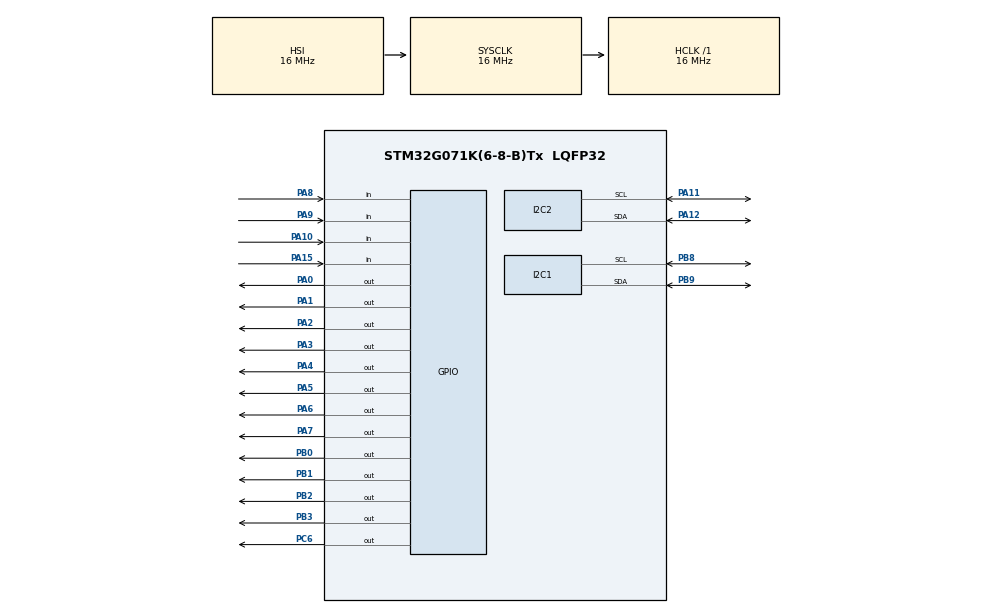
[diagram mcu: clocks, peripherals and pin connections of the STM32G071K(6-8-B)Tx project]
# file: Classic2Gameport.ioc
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Mcu.Family=STM32G0
Mcu.Name=STM32G071K(6-8-B)Tx
Mcu.Package=LQFP32
PA0.Signal=GPIO_Output
PA1.Signal=GPIO_Output
PA10.Signal=GPIO_Input
PA11\ [PA9].Mode=I2C
PA11\ [PA9].Signal=I2C2_SCL
PA12\ [PA10].Mode=I2C
PA12\ [PA10].Signal=I2C2_SDA
PA15.Signal=GPIO_Input
PA2.Signal=GPIO_Output
PA3.Signal=GPIO_Output
PA4.Signal=GPIO_Output
PA5.Signal=GPIO_Output
PA6.Signal=GPIO_Output
PA7.Signal=GPIO_Output
PA8.Signal=GPIO_Input
PA9.Signal=GPIO_Input
PB0.Signal=GPIO_Output
PB1.Signal=GPIO_Output
PB2.Signal=GPIO_Output
PB3.Signal=GPIO_Output
PB8.Mode=I2C
PB8.Signal=I2C1_SCL
PB9.Mode=I2C
PB9.Signal=I2C1_SDA
PC6.Signal=GPIO_Output
ProjectManager.HeapSize=0x200
ProjectManager.StackSize=0x400
ProjectManager.TargetToolchain=STM32CubeIDE
RCC.AHBFreq_Value=16000000
RCC.CortexFreq_Value=16000000
RCC.EXTERNAL_CLOCK_VALUE=48000
RCC.HCLKFreq_Value=16000000
RCC.HSE_VALUE=8000000
RCC.HSI_VALUE=16000000
RCC.LSE_VALUE=32768
RCC.SYSCLKFreq_VALUE=16000000
RCC.VCOOutputFreq_Value=128000000
VP_SYS_VS_DBSignals.Mode=DisableDeadBatterySignals
board=custom

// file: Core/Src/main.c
/* USER CODE BEGIN Header */
/**
  ******************************************************************************
  * @file           : main.c
  * @brief          : Main program body
  ******************************************************************************
  * @attention
  *
  * <h2><center>&copy; Copyright (c) 2020 STMicroelectronics.
  * All rights reserved.</center></h2>
  *
  * This software component is licensed by ST under BSD 3-Clause license,
  * the "License"; You may not use this file except in compliance with the
  * License. You may obtain a copy of the License at:
  *                        opensource.org/licenses/BSD-3-Clause
  *
  ******************************************************************************
  */
/* USER CODE END Header */

#include "main.h"

/* USER CODE BEGIN Includes */
#include "classic_controller.h"
#include "gameport.h"
#include "button_mapper.h"
/* USER CODE END Includes */

I2C_HandleTypeDef hi2c1;
I2C_HandleTypeDef hi2c2;

void SystemClock_Config(void);
static void MX_GPIO_Init(void);
static void MX_I2C2_Init(void);
static void MX_I2C1_Init(void);

/* USER CODE BEGIN 0 */

ButtonMap buttonMapPort1[] =
{
    {MAP_TYPE_AXIS, true, 0, 0,                       AXIS_X2, POSITION_DISCONNECTED, 0},
    {MAP_TYPE_AXIS, true, 0, 0,                       AXIS_Y2, POSITION_DISCONNECTED, 0},
    {MAP_TYPE_AXIS, false, 1 << CLASSIC_BTN_left,  0, AXIS_X1, POSITION_MIN, 0},
    {MAP_TYPE_AXIS, false, 1 << CLASSIC_BTN_right, 0, AXIS_X1, POSITION_MAX, 0},
    {MAP_TYPE_AXIS, false, 1 << CLASSIC_BTN_up,    0, AXIS_Y1, POSITION_MIN, 0},
    {MAP_TYPE_AXIS, false, 1 << CLASSIC_BTN_down,  0, AXIS_Y1, POSITION_MAX, 0},
    {MAP_TYPE_BUTTON, false, 1 << CLASSIC_BTN_b,     0, 0, 0,                0},
    {MAP_TYPE_BUTTON, false, 1 << CLASSIC_BTN_y,     0, 0, 0,                1},
	{MAP_TYPE_BUTTON, false, 1 << CLASSIC_BTN_select,0, 0, 0,                1},
    {MAP_TYPE_BUTTON, false, 1 << CLASSIC_BTN_a,     0, 0, 0,                2},
    {MAP_TYPE_BUTTON, false, 1 << CLASSIC_BTN_x,     0, 0, 0,                3},
	{MAP_TYPE_BUTTON, false, 1 << CLASSIC_BTN_start, 0, 0, 0,                3},
    {MAP_TYPE_END,    false, 0                 ,     0, 0, 0,                0},
};

ButtonMap buttonMapPort1Jnr[] =
{
    {MAP_TYPE_AXIS, true, 0, 0,                       AXIS_X2, POSITION_DISCONNECTED, 0},
    {MAP_TYPE_AXIS, true, 0, 0,                       AXIS_Y2, POSITION_DISCONNECTED, 0},
    {MAP_TYPE_AXIS, false, 1 << CLASSIC_BTN_left,  0, AXIS_X1, POSITION_MIN, 0},
    {MAP_TYPE_AXIS, false, 1 << CLASSIC_BTN_right, 0, AXIS_X1, POSITION_MAX, 0},
    {MAP_TYPE_AXIS, false, 1 << CLASSIC_BTN_up,    0, AXIS_Y1, POSITION_MIN, 0},
    {MAP_TYPE_AXIS, false, 1 << CLASSIC_BTN_b,     0, AXIS_Y1, POSITION_MIN, 0}, // b is mapped to up
    {MAP_TYPE_AXIS, false, 1 << CLASSIC_BTN_down,  0, AXIS_Y1, POSITION_MAX, 0},
    {MAP_TYPE_BUTTON, false, 1 << CLASSIC_BTN_y,     0, 0, 0,                0},
    {MAP_TYPE_BUTTON, false, 1 << CLASSIC_BTN_a,     0, 0, 0,                1},
    {MAP_TYPE_END,    false, 0                 ,     0, 0, 0,                0},
};

ButtonMap buttonMapPort2[] =
{
    {MAP_TYPE_AXIS, true, 0, 0,                       AXIS_X2, POSITION_DISCONNECTED, 0},
    {MAP_TYPE_AXIS, true, 0, 0,                       AXIS_Y2, POSITION_DISCONNECTED, 0},
    {MAP_TYPE_AXIS, false, 0, 1 << CLASSIC_BTN_left,  AXIS_X1, POSITION_MIN, 0},
    {MAP_TYPE_AXIS, false, 0, 1 << CLASSIC_BTN_right, AXIS_X1, POSITION_MAX, 0},
    {MAP_TYPE_AXIS, false, 0, 1 << CLASSIC_BTN_up,    AXIS_Y1, POSITION_MIN, 0},
    {MAP_TYPE_AXIS, false, 0, 1 << CLASSIC_BTN_down,  AXIS_Y1, POSITION_MAX, 0},
    {MAP_TYPE_BUTTON, false, 0, 1 << CLASSIC_BTN_b,     0, 0,                0},
    {MAP_TYPE_BUTTON, false, 0, 1 << CLASSIC_BTN_y,     0, 0,                1},
	{MAP_TYPE_BUTTON, false, 0, 1 << CLASSIC_BTN_select,0, 0,                1},
    {MAP_TYPE_BUTTON, false, 0, 1 << CLASSIC_BTN_a,     0, 0,                2},
    {MAP_TYPE_BUTTON, false, 0, 1 << CLASSIC_BTN_x,     0, 0,                3},
	{MAP_TYPE_BUTTON, false, 0, 1 << CLASSIC_BTN_start, 0, 0,                3},
    {MAP_TYPE_END,  false, 0,                  0,       0, 0,                0},
};

ButtonMap buttonMapPort2Jnr[] =
{
    {MAP_TYPE_AXIS, true, 0, 0,                       AXIS_X2, POSITION_DISCONNECTED, 0},
    {MAP_TYPE_AXIS, true, 0, 0,                       AXIS_Y2, POSITION_DISCONNECTED, 0},
    {MAP_TYPE_AXIS, false, 0, 1 << CLASSIC_BTN_left,  AXIS_X1, POSITION_MIN, 0},
    {MAP_TYPE_AXIS, false, 0, 1 << CLASSIC_BTN_right, AXIS_X1, POSITION_MAX, 0},
    {MAP_TYPE_AXIS, false, 0, 1 << CLASSIC_BTN_up,    AXIS_Y1, POSITION_MIN, 0},
    {MAP_TYPE_AXIS, false, 0, 1 << CLASSIC_BTN_b,     AXIS_Y1, POSITION_MIN, 0}, // b is mapped to up
    {MAP_TYPE_AXIS, false, 0, 1 << CLASSIC_BTN_down,  AXIS_Y1, POSITION_MAX, 0},
    {MAP_TYPE_BUTTON, false, 0, 1 << CLASSIC_BTN_y,     0, 0,                0},
    {MAP_TYPE_BUTTON, false, 0, 1 << CLASSIC_BTN_a,     0, 0,                1},
    {MAP_TYPE_END,  false, 0,                  0,       0, 0,                0},
};

ButtonMap buttonMapBoth[] =
{
    {MAP_TYPE_AXIS, false, 1 << CLASSIC_BTN_left,  0, AXIS_X1, POSITION_MIN, 0},
    {MAP_TYPE_AXIS, false, 1 << CLASSIC_BTN_right, 0, AXIS_X1, POSITION_MAX, 0},
    {MAP_TYPE_AXIS, false, 1 << CLASSIC_BTN_up,    0, AXIS_Y1, POSITION_MIN, 0},
    {MAP_TYPE_AXIS, false, 1 << CLASSIC_BTN_down,  0, AXIS_Y1, POSITION_MAX, 0},
    {MAP_TYPE_AXIS, false, 0, 1 << CLASSIC_BTN_left,  AXIS_X2, POSITION_MIN, 0},
    {MAP_TYPE_AXIS, false, 0, 1 << CLASSIC_BTN_right, AXIS_X2, POSITION_MAX, 0},
    {MAP_TYPE_AXIS, false, 0, 1 << CLASSIC_BTN_up,    AXIS_Y2, POSITION_MIN, 0},
    {MAP_TYPE_AXIS, false, 0, 1 << CLASSIC_BTN_down,  AXIS_Y2, POSITION_MAX, 0},
    {MAP_TYPE_BUTTON, false, 1 << CLASSIC_BTN_b,    0,  0, 0,                0},
    {MAP_TYPE_BUTTON, false, 1 << CLASSIC_BTN_y,    0,  0, 0,                1},
    {MAP_TYPE_BUTTON, false, 0, 1 << CLASSIC_BTN_b,     0, 0,                2},
    {MAP_TYPE_BUTTON, false, 0, 1 << CLASSIC_BTN_y,     0, 0,                3},
    {MAP_TYPE_END, false, 0,                  0,        0, 0,                0},
};

ButtonMap buttonMapBothJnr[] =
{
    {MAP_TYPE_AXIS, false, 1 << CLASSIC_BTN_left,  0, AXIS_X1, POSITION_MIN, 0},
    {MAP_TYPE_AXIS, false, 1 << CLASSIC_BTN_right, 0, AXIS_X1, POSITION_MAX, 0},
    {MAP_TYPE_AXIS, false, 1 << CLASSIC_BTN_up,    0, AXIS_Y1, POSITION_MIN, 0},
    {MAP_TYPE_AXIS, false, 1 << CLASSIC_BTN_b,     0, AXIS_Y1, POSITION_MIN, 0}, // b is also mapped to up
    {MAP_TYPE_AXIS, false, 1 << CLASSIC_BTN_down,  0, AXIS_Y1, POSITION_MAX, 0},
    {MAP_TYPE_AXIS, false, 0, 1 << CLASSIC_BTN_left,  AXIS_X2, POSITION_MIN, 0},
    {MAP_TYPE_AXIS, false, 0, 1 << CLASSIC_BTN_right, AXIS_X2, POSITION_MAX, 0},
    {MAP_TYPE_AXIS, false, 0, 1 << CLASSIC_BTN_up,    AXIS_Y2, POSITION_MIN, 0},
    {MAP_TYPE_AXIS, false, 0, 1 << CLASSIC_BTN_b,     AXIS_Y2, POSITION_MIN, 0}, // b is also mapped to up
    {MAP_TYPE_AXIS, false, 0, 1 << CLASSIC_BTN_down,  AXIS_Y2, POSITION_MAX, 0},
    {MAP_TYPE_BUTTON, false, 1 << CLASSIC_BTN_y,    0,  0, 0,                0},
    {MAP_TYPE_BUTTON, false, 1 << CLASSIC_BTN_a,    0,  0, 0,                1},
    {MAP_TYPE_BUTTON, false, 0, 1 << CLASSIC_BTN_y,     0, 0,                2},
    {MAP_TYPE_BUTTON, false, 0, 1 << CLASSIC_BTN_a,     0, 0,                3},
    {MAP_TYPE_END, false, 0,                  0,        0, 0,                0},
};

static const uint16_t normalModeButtons = ~(1 << CLASSIC_BTN_select | 1 << CLASSIC_BTN_down);
static const uint16_t jumpAndRunModeButtons = ~(1 << CLASSIC_BTN_select | 1 << CLASSIC_BTN_up);

bool jumpAndRunMode = false;

/* USER CODE END 0 */

int main(void)
{

  /* MCU Configuration--------------------------------------------------------*/

  /* Reset of all peripherals, Initializes the Flash interface and the Systick. */
  HAL_Init();

  /* Configure the system clock */
  SystemClock_Config();

  /* Initialize all configured peripherals */
  MX_GPIO_Init();
  MX_I2C2_Init();
  MX_I2C1_Init();
  /* USER CODE BEGIN 2 */
soft_reset:

  HAL_Delay(100);
  initializeClassicController(&hi2c1);
  initializeClassicController(&hi2c2);
  HAL_Delay(100);

  /* USER CODE END 2 */

  /* Infinite loop */
  /* USER CODE BEGIN WHILE */

  uint16_t classicControllerButtons1 = 0;
  uint16_t classicControllerButtons2 = 0;

  while (1)
  {
    bool pad1Ready = readClassicControllerData(&hi2c1, &classicControllerButtons1);
    bool pad2Ready = readClassicControllerData(&hi2c2, &classicControllerButtons2);

    if (!pad1Ready && !pad2Ready)
    {
      goto soft_reset;
    }

    if (jumpAndRunModeButtons == classicControllerButtons1 || jumpAndRunModeButtons == classicControllerButtons2)
    {
      jumpAndRunMode = true;
    }

    if (normalModeButtons == classicControllerButtons1 || normalModeButtons == classicControllerButtons2)
    {
      jumpAndRunMode = false;
    }

    ButtonMap* map;

    if (pad1Ready && pad2Ready)
    {
      map = jumpAndRunMode?buttonMapBothJnr:buttonMapBoth;
    }
    else if (pad1Ready)
    {
      map = jumpAndRunMode?buttonMapPort1Jnr:buttonMapPort1;
    }
    else
    {
      map = jumpAndRunMode?buttonMapPort2Jnr:buttonMapPort2;
    }

    GameportState gameportState = mapButtons(classicControllerButtons1, classicControllerButtons2, map);
    setGameport(&gameportState);

    /* USER CODE END WHILE */

  }
}

void SystemClock_Config(void)
{
  RCC_OscInitTypeDef RCC_OscInitStruct = {0};
  RCC_ClkInitTypeDef RCC_ClkInitStruct = {0};
  RCC_PeriphCLKInitTypeDef PeriphClkInit = {0};

  /** Configure the main internal regulator output voltage
  */
  HAL_PWREx_ControlVoltageScaling(PWR_REGULATOR_VOLTAGE_SCALE1);
  /** Initializes the CPU, AHB and APB busses clocks
  */
  RCC_OscInitStruct.OscillatorType = RCC_OSCILLATORTYPE_HSI;
  RCC_OscInitStruct.HSIState = RCC_HSI_ON;
  RCC_OscInitStruct.HSIDiv = RCC_HSI_DIV1;
  RCC_OscInitStruct.HSICalibrationValue = RCC_HSICALIBRATION_DEFAULT;
  RCC_OscInitStruct.PLL.PLLState = RCC_PLL_NONE;
  if (HAL_RCC_OscConfig(&RCC_OscInitStruct) != HAL_OK)
  {
    Error_Handler();
  }
  /** Initializes the CPU, AHB and APB busses clocks
  */
  RCC_ClkInitStruct.ClockType = RCC_CLOCKTYPE_HCLK|RCC_CLOCKTYPE_SYSCLK
                              |RCC_CLOCKTYPE_PCLK1;
  RCC_ClkInitStruct.SYSCLKSource = RCC_SYSCLKSOURCE_HSI;
  RCC_ClkInitStruct.AHBCLKDivider = RCC_SYSCLK_DIV1;
  RCC_ClkInitStruct.APB1CLKDivider = RCC_HCLK_DIV1;

  if (HAL_RCC_ClockConfig(&RCC_ClkInitStruct, FLASH_LATENCY_0) != HAL_OK)
  {
    Error_Handler();
  }
  /** Initializes the peripherals clocks
  */
  PeriphClkInit.PeriphClockSelection = RCC_PERIPHCLK_I2C1;
  PeriphClkInit.I2c1ClockSelection = RCC_I2C1CLKSOURCE_PCLK1;
  if (HAL_RCCEx_PeriphCLKConfig(&PeriphClkInit) != HAL_OK)
  {
    Error_Handler();
  }
}

static void MX_I2C1_Init(void)
{

  hi2c1.Instance = I2C1;
  hi2c1.Init.Timing = 0x00303D5B;
  hi2c1.Init.OwnAddress1 = 0;
  hi2c1.Init.AddressingMode = I2C_ADDRESSINGMODE_7BIT;
  hi2c1.Init.DualAddressMode = I2C_DUALADDRESS_DISABLE;
  hi2c1.Init.OwnAddress2 = 0;
  hi2c1.Init.OwnAddress2Masks = I2C_OA2_NOMASK;
  hi2c1.Init.GeneralCallMode = I2C_GENERALCALL_DISABLE;
  hi2c1.Init.NoStretchMode = I2C_NOSTRETCH_DISABLE;
  if (HAL_I2C_Init(&hi2c1) != HAL_OK)
  {
    Error_Handler();
  }
  /** Configure Analogue filter
  */
  if (HAL_I2CEx_ConfigAnalogFilter(&hi2c1, I2C_ANALOGFILTER_ENABLE) != HAL_OK)
  {
    Error_Handler();
  }
  /** Configure Digital filter
  */
  if (HAL_I2CEx_ConfigDigitalFilter(&hi2c1, 0) != HAL_OK)
  {
    Error_Handler();
  }

}

static void MX_I2C2_Init(void)
{

  hi2c2.Instance = I2C2;
  hi2c2.Init.Timing = 0x00303D5B;
  hi2c2.Init.OwnAddress1 = 0;
  hi2c2.Init.AddressingMode = I2C_ADDRESSINGMODE_7BIT;
  hi2c2.Init.DualAddressMode = I2C_DUALADDRESS_DISABLE;
  hi2c2.Init.OwnAddress2 = 0;
  hi2c2.Init.OwnAddress2Masks = I2C_OA2_NOMASK;
  hi2c2.Init.GeneralCallMode = I2C_GENERALCALL_DISABLE;
  hi2c2.Init.NoStretchMode = I2C_NOSTRETCH_DISABLE;
  if (HAL_I2C_Init(&hi2c2) != HAL_OK)
  {
    Error_Handler();
  }
  /** Configure Analogue filter
  */
  if (HAL_I2CEx_ConfigAnalogFilter(&hi2c2, I2C_ANALOGFILTER_ENABLE) != HAL_OK)
  {
    Error_Handler();
  }
  /** Configure Digital filter
  */
  if (HAL_I2CEx_ConfigDigitalFilter(&hi2c2, 0) != HAL_OK)
  {
    Error_Handler();
  }

}

static void MX_GPIO_Init(void)
{
  GPIO_InitTypeDef GPIO_InitStruct = {0};

  /* GPIO Ports Clock Enable */
  __HAL_RCC_GPIOB_CLK_ENABLE();
  __HAL_RCC_GPIOA_CLK_ENABLE();
  __HAL_RCC_GPIOC_CLK_ENABLE();

  /*Configure GPIO pin Output Level */
  HAL_GPIO_WritePin(GPIOA, GPIO_PIN_0|GPIO_PIN_1|GPIO_PIN_2|GPIO_PIN_3
                          |GPIO_PIN_4|GPIO_PIN_5|GPIO_PIN_6|GPIO_PIN_7, GPIO_PIN_RESET);

  /*Configure GPIO pin Output Level */
  HAL_GPIO_WritePin(GPIOB, GPIO_PIN_0|GPIO_PIN_1|GPIO_PIN_2|GPIO_PIN_3, GPIO_PIN_RESET);

  /*Configure GPIO pin Output Level */
  HAL_GPIO_WritePin(GPIOC, GPIO_PIN_6, GPIO_PIN_RESET);

  /*Configure GPIO pins : PA0 PA1 PA2 PA3
                           PA4 PA5 PA6 PA7 */
  GPIO_InitStruct.Pin = GPIO_PIN_0|GPIO_PIN_1|GPIO_PIN_2|GPIO_PIN_3
                          |GPIO_PIN_4|GPIO_PIN_5|GPIO_PIN_6|GPIO_PIN_7;
  GPIO_InitStruct.Mode = GPIO_MODE_OUTPUT_PP;
  GPIO_InitStruct.Pull = GPIO_NOPULL;
  GPIO_InitStruct.Speed = GPIO_SPEED_FREQ_LOW;
  HAL_GPIO_Init(GPIOA, &GPIO_InitStruct);

  /*Configure GPIO pins : PB0 PB1 PB2 PB3 */
  GPIO_InitStruct.Pin = GPIO_PIN_0|GPIO_PIN_1|GPIO_PIN_2|GPIO_PIN_3;
  GPIO_InitStruct.Mode = GPIO_MODE_OUTPUT_PP;
  GPIO_InitStruct.Pull = GPIO_NOPULL;
  GPIO_InitStruct.Speed = GPIO_SPEED_FREQ_LOW;
  HAL_GPIO_Init(GPIOB, &GPIO_InitStruct);

  /*Configure GPIO pins : PA8 PA9 PA10 PA15 */
  GPIO_InitStruct.Pin = GPIO_PIN_8|GPIO_PIN_9|GPIO_PIN_10|GPIO_PIN_15;
  GPIO_InitStruct.Mode = GPIO_MODE_INPUT;
  GPIO_InitStruct.Pull = GPIO_NOPULL;
  HAL_GPIO_Init(GPIOA, &GPIO_InitStruct);

  /*Configure GPIO pin : PC6 */
  GPIO_InitStruct.Pin = GPIO_PIN_6;
  GPIO_InitStruct.Mode = GPIO_MODE_OUTPUT_PP;
  GPIO_InitStruct.Pull = GPIO_NOPULL;
  GPIO_InitStruct.Speed = GPIO_SPEED_FREQ_LOW;
  HAL_GPIO_Init(GPIOC, &GPIO_InitStruct);

}

void Error_Handler(void)
{
}

/************************ (C) COPYRIGHT STMicroelectronics *****END OF FILE****/
